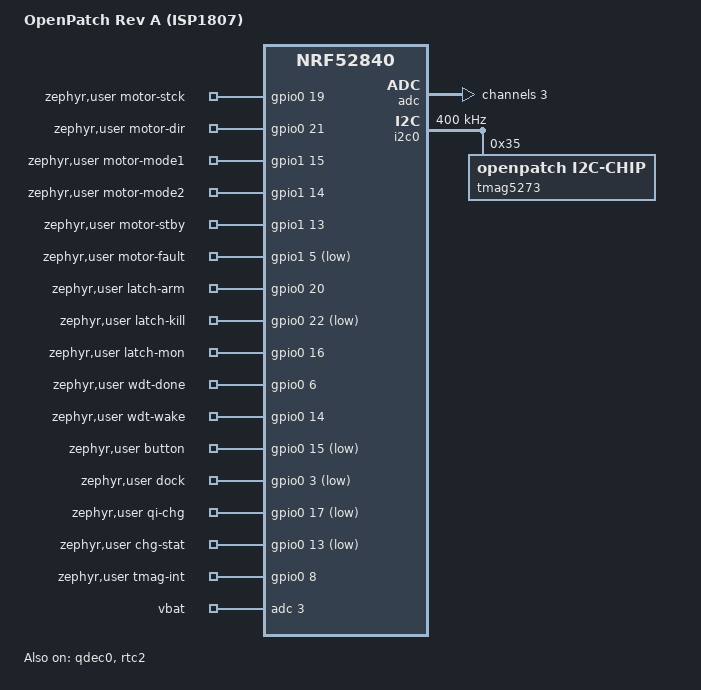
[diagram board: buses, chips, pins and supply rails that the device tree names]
/*
 * SPDX-License-Identifier: Apache-2.0
 *
 * OpenPatch Rev A: Insight SiP ISP1807 (nRF52840), insulin patch pump pod.
 * EXPERIMENTAL DIY DEVICE - NOT A MEDICAL DEVICE.
 *
 * All pin numbers come from electronics/pin-assignment.md (pad -> port.pin).
 * The application only uses the properties of the /zephyr,user node below, so
 * a bench setup (nrf52840dk) re-maps them in its own overlay and no C code
 * contains a pin number.
 */

/dts-v1/;
#include <nordic/nrf52840_qiaa.dtsi>
#include <nordic/nrf52840_partition.dtsi>
#include "openpatch_reva_nrf52840-pinctrl.dtsi"

/ {
	model = "OpenPatch Rev A (ISP1807)";
	compatible = "openpatch,reva";

	chosen {
		zephyr,console = &rtt0;
		zephyr,shell-uart = &rtt0;
	};

	rtt0: rtt_chan0 {
		compatible = "segger,rtt-uart";
		status = "okay";
	};

	aliases {
		qdec-hall = &qdec0;
		watchdog0 = &wdt0;
	};

	zephyr,user {
		/* ---- STSPIN220 motor driver (full-step in firmware, see Kconfig) ---- */
		motor-stck-gpios = <&gpio0 19 GPIO_ACTIVE_HIGH>;  /* MOT_STCK / MODE3 */
		motor-dir-gpios = <&gpio0 21 GPIO_ACTIVE_HIGH>;   /* MOT_DIR / MODE4 */
		motor-mode1-gpios = <&gpio1 15 GPIO_ACTIVE_HIGH>; /* MOT_MODE1 */
		motor-mode2-gpios = <&gpio1 14 GPIO_ACTIVE_HIGH>; /* MOT_MODE2 */
		/* STBY/RESET: high = driver active; 100k pulldown on the board -> fail-safe */
		motor-stby-gpios = <&gpio1 13 GPIO_ACTIVE_HIGH>;
		/* EN/FAULT is open drain with an internal pull-up at the driver: read only */
		motor-fault-gpios = <&gpio1 5 (GPIO_ACTIVE_LOW | GPIO_PULL_UP)>;

		/* ---- hardware safety latch (see electronics/README.md section 3) ---- */
		latch-arm-gpios = <&gpio0 20 GPIO_ACTIVE_HIGH>;                /* ARM_CLK: rising edge arms */
		latch-kill-gpios = <&gpio0 22 (GPIO_ACTIVE_LOW | GPIO_OPEN_DRAIN)>; /* KILL_N: asserted = low */
		latch-mon-gpios = <&gpio0 16 GPIO_ACTIVE_HIGH>;                /* LATCH_Q_MON: Q = MOT_ALLOW */

		/* ---- TPL5010 external watchdog ---- */
		wdt-done-gpios = <&gpio0 6 GPIO_ACTIVE_HIGH>;  /* DONE: CPU-served only */
		wdt-wake-gpios = <&gpio0 14 GPIO_ACTIVE_HIGH>; /* WAKE pulse -> interrupt */

		/* ---- misc inputs / enables ---- */
		button-gpios = <&gpio0 15 (GPIO_PULL_UP | GPIO_ACTIVE_LOW)>; /* BTN_N */
		/* DOCK_N: dock Hall switch DRV5032FA, active low = cannula-adapter magnet present = docked
		 * (P0.03, electronics/pin-assignment.md; also gates the motor supply in hardware) */
		dock-gpios = <&gpio0 3 (GPIO_PULL_UP | GPIO_ACTIVE_LOW)>;
		qi-chg-gpios = <&gpio0 17 (GPIO_PULL_UP | GPIO_ACTIVE_LOW)>; /* BQ51013B CHG, open drain */
		/* CHG_STAT: MCP73832 STAT, open drain, low = charging (no I2C charger on Rev A) */
		chg-stat-gpios = <&gpio0 13 (GPIO_PULL_UP | GPIO_ACTIVE_LOW)>;
		tmag-int-gpios = <&gpio0 8 GPIO_ACTIVE_HIGH>;

		/* ---- SAADC: VBAT only (1.5M/1M divider, V_adc = V * 0.4); VMOT sense is not populated ---- */
		io-channels = <&adc 3>;
		io-channel-names = "vbat";
	};
};

&reg1 {
	regulator-initial-mode = <NRF5X_REG_MODE_DCDC>; /* ISP1807 has the DC/DC passives inside */
};

&uicr {
	gpio-as-nreset; /* P0.18 = nRESET, driven by the TPL5010 RSTn */
};

&gpiote {
	status = "okay";
};

&gpio0 {
	status = "okay";
};

&gpio1 {
	status = "okay";
};

&adc {
	status = "okay";
	#address-cells = <1>;
	#size-cells = <0>;

	/* VBAT_SENSE on P0.05 / AIN3: 4.2 V * 0.4 = 1.68 V; gain 1/4 on the 0.6 V ref = 2.4 V full scale */
	channel@3 {
		reg = <3>;
		zephyr,gain = "ADC_GAIN_1_4";
		zephyr,reference = "ADC_REF_INTERNAL";
		zephyr,acquisition-time = <ADC_ACQ_TIME(ADC_ACQ_TIME_MICROSECONDS, 40)>;
		zephyr,input-positive = <NRF_SAADC_AIN3>;
		zephyr,resolution = <12>;
		zephyr,oversampling = <3>;
	};
};

&i2c0 {
	compatible = "nordic,nrf-twim";
	status = "okay";
	clock-frequency = <I2C_BITRATE_FAST>;
	pinctrl-0 = <&i2c0_default>;
	pinctrl-1 = <&i2c0_sleep>;
	pinctrl-names = "default", "sleep";

	/* TMAG5273A1 3D hall: absolute spindle angle (path A of the delivery verification).
	 * The only I2C device on Rev A: the charger is an MCP73832 (no I2C, status pin only). */
	tmag5273: tmag5273@35 {
		compatible = "openpatch,i2c-chip";
		reg = <0x35>;
	};
};

/* Path B: the QDEC peripheral counts HALL_A/HALL_B without the CPU (4 counts per spindle revolution). */
&qdec0 {
	status = "okay";
	pinctrl-0 = <&qdec_default>;
	pinctrl-1 = <&qdec_sleep>;
	pinctrl-names = "default", "sleep";
	steps = <4>;
	led-pre = <0>;
	nordic,period = "SAMPLEPER_2048US";
};

/* RTC2 = step pulse timebase (RTC0/RTC1 belong to the BLE controller / kernel). */
&rtc2 {
	status = "okay";
};
